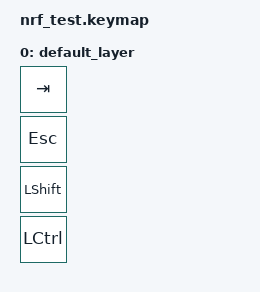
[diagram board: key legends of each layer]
/*
 * Copyright (c) 2020 The ZMK Contributors
 *
 * SPDX-License-Identifier: MIT
 */

#include <behaviors.dtsi>
#include <dt-bindings/zmk/keys.h>

/* Uncomment this block if using an encoder */
//&encoder {
//    status = "okay";
//};

/ {
    keymap {
        compatible = "zmk,keymap";

        default_layer {
            // -----------------------------------------------------------------------------------------
            // |  TAB  |  Q   |  W   |  E   |  R   |  T   |   Y   |  U    |  I   |  O   |   P   | BSPC  |
            // |  ESC  |  A   |  S   |  D   |  F   |  G   |   H   |  J    |  K   |  L   |   ;   |  '    |
            // | SHIFT |  Z   |  X   |  C   |  V   |  B   |   N   |  M    |  ,   |  .   |   /   |  RET  |
            // |       | LCTRL | LALT | LGUI | LOWR |     SPACE    |  RAIS | LEFT | DOWN | UP  |  RIGHT |
            bindings = <
                &kp TAB
                &kp ESC
                &kp LSHFT
                &kp LCTRL
            >;
        };

    };
};
